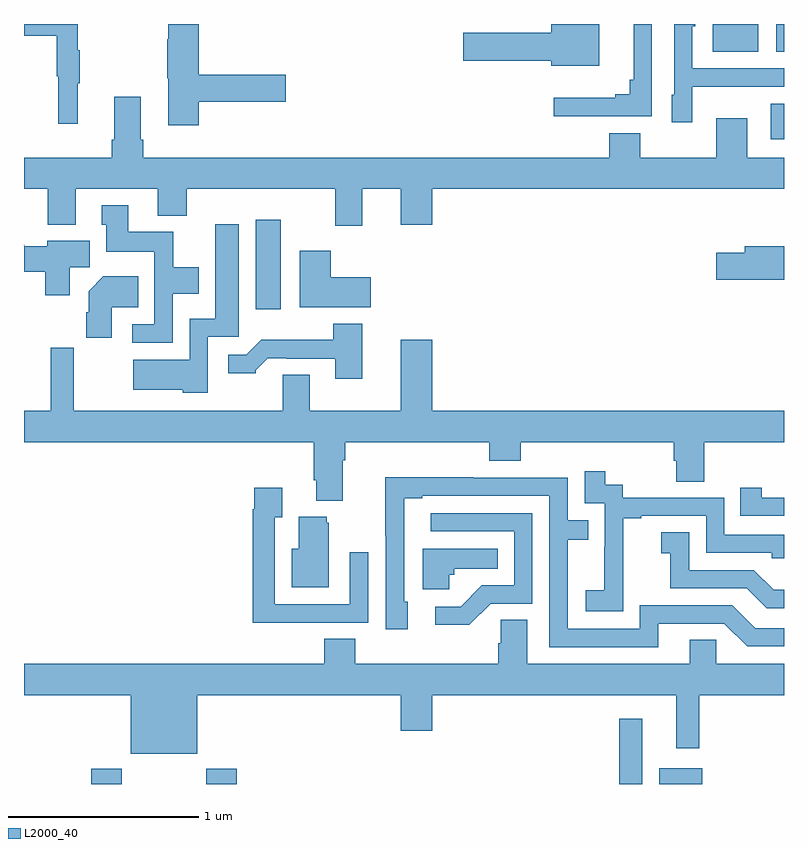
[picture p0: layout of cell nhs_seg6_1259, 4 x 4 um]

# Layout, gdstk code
import gdstk
lib = gdstk.Library(unit=1e-6, precision=1e-09)
def R(c, l, rs):  # rectangles x0, y0, x1, y1
    for r in rs: c.add(gdstk.rectangle(r[:2], r[2:], *l))
def P(c, l, *ps):  # polygons
    for p in ps: c.add(gdstk.Polygon(p, *l))
L2000_40 = (2000, 40)

nhs_seg6_1259 = lib.new_cell('nhs_seg6_1259')
R(nhs_seg6_1259, L2000_40, [(187.355,981.5,187.515,981.58), (187.96,981.5,188.12,981.58), (190.134,981.5,190.255,981.844), (190.343,981.5,190.57,981.583), (188.219,984,188.35,984.469), (190.931,984.894,191,985.08), (190.625,985.355,190.864,985.5), (190.958,985.355,191,985.5)])
P(nhs_seg6_1259, L2000_40, [(190.305,985.5),(190.208,985.5),(190.208,985.207),(190.189,985.207),(190.189,985.13),(190.112,985.13),(190.112,985.111),(189.789,985.111),(189.789,985.014),(190.305,985.014)],
  [(187.919,985.09),(188.377,985.09),(188.377,985.232),(187.919,985.232),(187.919,985.5),(187.76,985.5),(187.76,985.421),(187.753,985.421),(187.753,985.215),(187.76,985.215),(187.76,984.966),(187.919,984.966)],
  [(190.518,985.169),(190.835,985.169),(190.835,985.17),(191,985.17),(191,985.266),(190.518,985.266),(190.518,985.488),(190.534,985.488),(190.534,985.5),(190.422,985.5),(190.422,985.128),(190.409,985.128),(190.409,984.984),(190.518,984.984)],
  [(187.283,985.187),(187.294,985.187),(187.294,985.361),(187.283,985.361),(187.283,985.5),(187,985.5),(187,985.438),(187.173,985.438),(187.173,985.224),(187.18,985.224),(187.18,984.975),(187.283,984.975)],
  [(190.027,985.5),(189.776,985.5),(189.776,985.454),(189.312,985.454),(189.312,985.307),(189.776,985.307),(189.776,985.28),(190.027,985.28)],
  [(188.779,984.632),(188.984,984.632),(188.984,984.444),(189.148,984.444),(189.148,984.632),(191,984.632),(191,984.796),(190.807,984.796),(190.807,985.003),(190.643,985.003),(190.643,984.796),(190.243,984.796),(190.243,984.925),(190.079,984.925),(190.079,984.796),(187.628,984.796),(187.628,984.892),(187.615,984.892),(187.615,985.117),(187.475,985.117),(187.475,984.892),(187.463,984.892),(187.463,984.796),(187,984.796),(187,984.632),(187.126,984.632),(187.126,984.443),(187.273,984.443),(187.273,984.632),(187.703,984.632),(187.703,984.491),(187.856,984.491),(187.856,984.632),(188.639,984.632),(188.639,984.438),(188.779,984.438)],
  [(187.782,984.08),(187.921,984.08),(187.921,984.22),(187.785,984.22),(187.785,984.406),(187.549,984.406),(187.549,984.547),(187.409,984.547),(187.409,984.444),(187.433,984.444),(187.433,984.302),(187.686,984.302),(187.686,983.919),(187.569,983.919),(187.569,983.823),(187.782,983.823)],
  [(187.968,983.853),(188.131,983.853),(188.131,984.445),(188.006,984.445),(188.006,983.95),(187.872,983.95),(187.872,983.734),(187.575,983.734),(187.575,983.576),(187.836,983.576),(187.836,983.558),(187.968,983.558)],
  [(187.24,984.22),(187.345,984.22),(187.345,984.358),(187.122,984.358),(187.122,984.331),(187.002,984.331),(187.002,984.339),(187,984.339),(187,984.197),(187.111,984.197),(187.111,984.072),(187.24,984.072)],
  [(191,984.331),(190.793,984.331),(190.793,984.297),(190.644,984.297),(190.644,984.155),(191,984.155)],
  [(188.824,984.166),(188.614,984.166),(188.614,984.307),(188.45,984.307),(188.45,984.008),(188.824,984.008)],
  [(187.462,984.008),(187.601,984.008),(187.601,984.172),(187.418,984.172),(187.34,984.094),(187.34,983.984),(187.328,983.984),(187.328,983.85),(187.462,983.85)],
  [(188.779,983.923),(188.627,983.923),(188.627,983.839),(188.248,983.839),(188.169,983.76),(188.076,983.76),(188.076,983.663),(188.22,983.663),(188.22,983.678),(188.284,983.742),(188.383,983.742),(188.383,983.739),(188.639,983.739),(188.639,983.634),(188.779,983.634)],
  [(188.677,983.204),(188.69,983.204),(188.69,983.3),(189.449,983.3),(189.449,983.201),(189.614,983.201),(189.614,983.3),(190.421,983.3),(190.421,983.202),(190.433,983.202),(190.433,983.092),(190.581,983.092),(190.581,983.3),(191,983.3),(191,983.464),(189.148,983.464),(189.148,983.839),(188.984,983.839),(188.984,983.464),(188.503,983.464),(188.503,983.654),(188.363,983.654),(188.363,983.464),(187.261,983.464),(187.261,983.797),(187.14,983.797),(187.14,983.464),(187,983.464),(187,983.3),(188.525,983.3),(188.525,983.098),(188.537,983.098),(188.537,982.991),(188.677,982.991)],
  [(190.155,982.615),(190.154,982.615),(190.154,982.899),(190.249,982.899),(190.249,982.911),(190.59,982.911),(190.59,982.716),(190.935,982.716),(190.935,982.689),(191,982.689),(191,982.812),(190.686,982.812),(190.686,983.007),(190.152,983.007),(190.152,983.076),(190.06,983.076),(190.06,983.146),(189.951,983.146),(189.951,982.977),(190.056,982.977),(190.056,982.748),(190.055,982.748),(190.055,982.519),(189.957,982.519),(189.957,982.409),(190.155,982.409)],
  [(190.339,982.344),(190.686,982.344),(190.806,982.224),(191,982.224),(191,982.32),(190.848,982.32),(190.728,982.44),(190.242,982.44),(190.242,982.317),(189.861,982.317),(189.861,982.786),(189.971,982.786),(189.971,982.887),(189.861,982.887),(189.861,983.112),(189.365,983.112),(189.365,983.114),(188.902,983.114),(188.902,982.807),(188.904,982.807),(188.904,982.314),(189.019,982.314),(189.019,982.458),(189,982.458),(189,983.004),(189.097,983.004),(189.097,983.016),(189.765,983.016),(189.765,982.221),(190.339,982.221)],
  [(191,983.007),(190.882,983.007),(190.882,983.059),(190.771,983.059),(190.771,982.911),(191,982.911)],
  [(188.495,982.35),(188.811,982.35),(188.811,982.72),(188.715,982.72),(188.715,982.446),(188.319,982.446),(188.319,982.903),(188.359,982.903),(188.359,983.059),(188.211,983.059),(188.211,982.946),(188.203,982.946),(188.203,982.349),(188.495,982.349)],
  [(189.456,982.449),(189.675,982.449),(189.675,982.926),(189.141,982.926),(189.141,982.83),(189.579,982.83),(189.579,982.545),(189.41,982.545),(189.299,982.434),(189.165,982.434),(189.165,982.337),(189.343,982.337)],
  [(188.605,982.875),(188.594,982.875),(188.594,982.906),(188.447,982.906),(188.447,982.738),(188.408,982.738),(188.408,982.535),(188.605,982.535)],
  [(191,982.522),(190.946,982.522),(190.842,982.626),(190.5,982.626),(190.5,982.825),(190.353,982.825),(190.353,982.715),(190.402,982.715),(190.402,982.53),(190.805,982.53),(190.91,982.425),(191,982.425)],
  [(189.237,982.602),(189.264,982.602),(189.264,982.634),(189.494,982.634),(189.494,982.738),(189.098,982.738),(189.098,982.526),(189.237,982.526)],
  [(187.912,981.968),(188.984,981.968),(188.984,981.78),(189.148,981.78),(189.148,981.968),(190.433,981.968),(190.433,981.687),(190.555,981.687),(190.555,981.968),(191,981.968),(191,982.132),(190.644,982.132),(190.644,982.259),(190.505,982.259),(190.505,982.132),(189.649,982.132),(189.649,982.364),(189.51,982.364),(189.51,982.241),(189.497,982.241),(189.497,982.132),(188.744,982.132),(188.744,982.265),(188.579,982.265),(188.579,982.132),(187,982.132),(187,981.968),(187.562,981.968),(187.562,981.659),(187.912,981.659)])

lib.write_gds('nhs_seg6_1259.gds')
